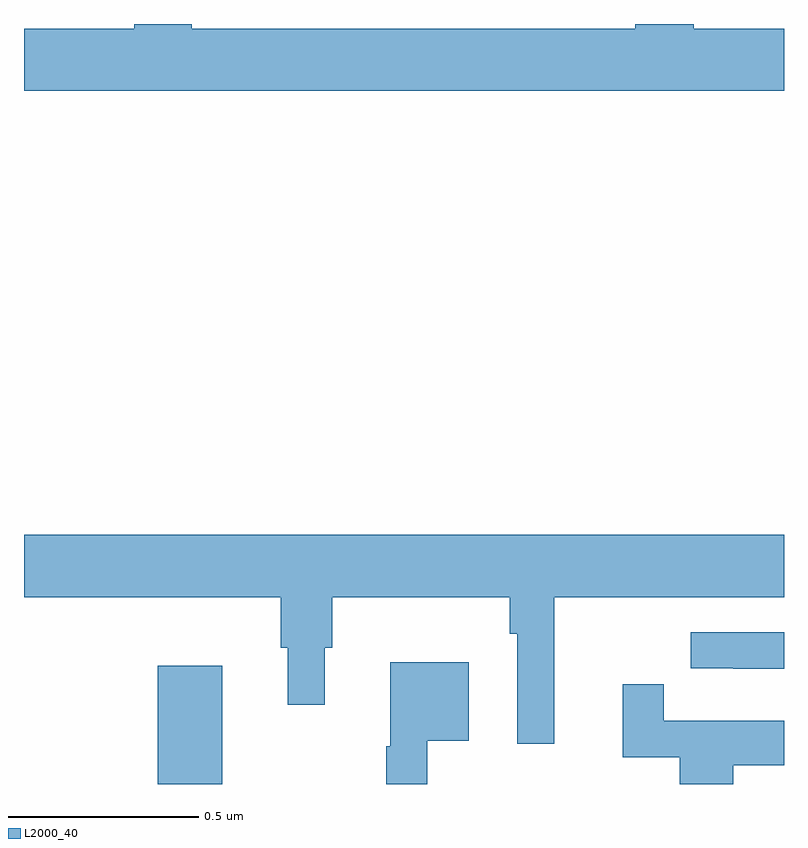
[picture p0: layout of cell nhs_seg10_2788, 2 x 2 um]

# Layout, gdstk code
import gdstk
lib = gdstk.Library(unit=1e-6, precision=1e-09)
def R(c, l, rs):  # rectangles x0, y0, x1, y1
    for r in rs: c.add(gdstk.rectangle(r[:2], r[2:], *l))
def P(c, l, *ps):  # polygons
    for p in ps: c.add(gdstk.Polygon(p, *l))
L2000_40 = (2000, 40)

nhs_seg10_2788 = lib.new_cell('nhs_seg10_2788')
R(nhs_seg10_2788, L2000_40, [(145.352,1290.5,145.522,1290.811)])
P(nhs_seg10_2788, L2000_40, [(147,1292.488),(146.762,1292.488),(146.762,1292.5),(146.609,1292.5),(146.609,1292.488),(145.442,1292.488),(145.442,1292.5),(145.29,1292.5),(145.29,1292.488),(145,1292.488),(145,1292.324),(147,1292.324)],
  [(146.396,1290.992),(147,1290.992),(147,1291.156),(145,1291.156),(145,1290.992),(145.675,1290.992),(145.675,1290.858),(145.694,1290.858),(145.694,1290.708),(145.792,1290.708),(145.792,1290.858),(145.811,1290.858),(145.811,1290.992),(146.278,1290.992),(146.278,1290.896),(146.298,1290.896),(146.298,1290.606),(146.396,1290.606)],
  [(147,1290.9),(146.754,1290.9),(146.754,1290.804),(146.866,1290.804),(146.866,1290.803),(147,1290.803)],
  [(146.061,1290.614),(146.17,1290.614),(146.17,1290.82),(145.964,1290.82),(145.964,1290.6),(145.953,1290.6),(145.953,1290.5),(146.061,1290.5)],
  [(146.866,1290.55),(147,1290.55),(147,1290.666),(146.684,1290.666),(146.684,1290.763),(146.576,1290.763),(146.576,1290.57),(146.726,1290.57),(146.726,1290.5),(146.866,1290.5)])

lib.write_gds('nhs_seg10_2788.gds')
